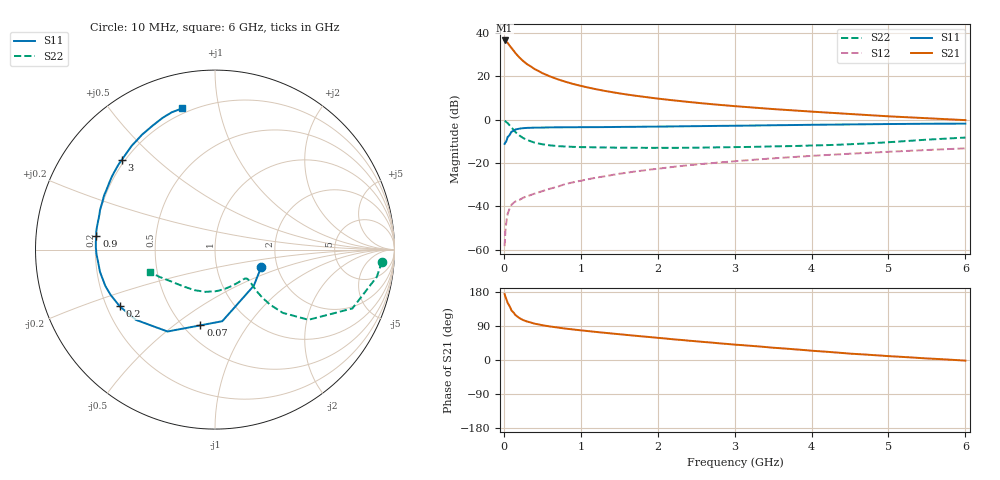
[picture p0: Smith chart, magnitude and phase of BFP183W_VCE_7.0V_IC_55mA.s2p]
! Infineon Technologies  Discrete & RF Semiconductors
! BFP183W
! VCE =  7.0 V,  IC =  55 mA
! Common Emitter S-Parameters:  Jan 2017
# GHz  S  MA  R  50
!  f  S11  S21  S12  S22
! GHz  MAG  ANG  MAG  ANG  MAG  ANG  MAG  ANG
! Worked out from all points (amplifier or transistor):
!   77 points, 10 MHz to 6 GHz, reference 50 ohm
!   highest |S21| = 36.5 dB at 10 MHz (marker M1)
!   |S21| within 3 dB of that: start of sweep to 88.43 MHz
!   unconditionally stable (mu >= 1): 587.7 MHz to 3.394 GHz
!   at 130 MHz: K = 0.42, MSG = 35.0 dB, |S12| = -38.3 dB
!   at 2.2 GHz: K = 1.08, MAG = 13.6 dB, |S12| = -21.8 dB
!   at 6 GHz: K = 0.85, MSG = 6.5 dB, |S12| = -13.3 dB
!   S11 on the Smith chart (normalised r, x): 10 MHz: 1.65, -0.35; 70 MHz: 0.61, -0.63; 200 MHz: 0.25, -0.26; 900 MHz: 0.20, +0.06; 3 GHz: 0.19, +0.39; 6 GHz: 0.17, +0.78
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0.01  0.2751 -20.7  67.03 173.9  0.0012 68.8  0.9329 -4.1
0.02  0.2953 -42.9  65.68 167.2  0.0026 84.2  0.914 -9.6
0.05  0.4011 -84.2  58.67 150.4  0.0067 66.5  0.8326 -23.2
0.07  0.4298 -100.9  52.41 143.7  0.0084 62.4  0.7552 -27.9
0.1  0.5275 -120.1  44.82 130.5  0.0109 58.7  0.6514 -36.9
0.15  0.5896 -138.4  34.39 118.7  0.0129 51.2  0.5174 -43.0
0.2  0.6177 -149.2  27.36 110.9  0.0139 50.7  0.433 -45.0
0.25  0.6341 -156.6  22.58 105.4  0.0157 51.0  0.3772 -45.4
0.3  0.6437 -161.7  19.13 101.6  0.0169 51.8  0.3389 -45.1
0.4  0.6527 -169.0  14.66 95.8  0.0196 56.4  0.2937 -43.8
0.5  0.6549 -173.9  11.82 91.8  0.0223 59.4  0.2698 -42.7
0.6  0.6609 -177.9  9.917 88.5  0.0254 60.5  0.2545 -42.2
0.7  0.6638 179.0  8.52 85.7  0.0283 62.7  0.2444 -42.0
0.9  0.665 173.4  6.645 80.6  0.0357 65.1  0.235 -43.3
1.1  0.6697 168.9  5.472 76.2  0.0422 67.3  0.2307 -45.4
1.5  0.6777 161.0  4.035 68.1  0.0562 67.6  0.2249 -51.8
2.1  0.6923 149.9  2.918 56.7  0.0771 66.2  0.2229 -65.2
3  0.7213 136.0  2.044 40.6  0.1094 61.8  0.232 -89.5
3.1  0.7243 134.6  1.982 39.2  0.113 61.2  0.2328 -92.2
4.1  0.7612 121.1  1.491 23.1  0.1489 54.7  0.2548 -119.3
5.1  0.7921 110.8  1.166 9.1  0.1842 47.7  0.3086 -145.9
6  0.8076 103.1  0.972 -1.6  0.2171 41.1  0.3851 -161.0
